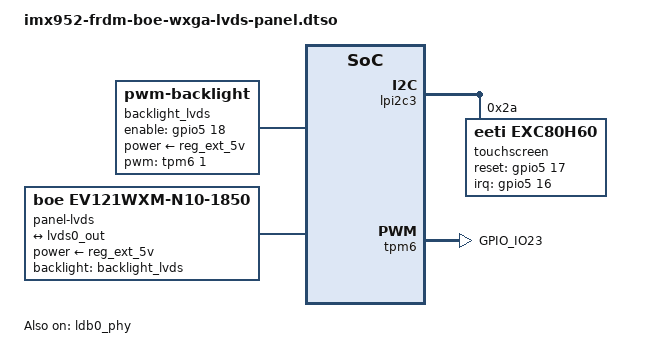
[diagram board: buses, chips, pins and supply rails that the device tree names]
// SPDX-License-Identifier: GPL-2.0+
/*
 * Copyright 2026 NXP
 */

#include <dt-bindings/gpio/gpio.h>
#include <dt-bindings/interrupt-controller/irq.h>
#include "imx952-pinfunc.h"

/dts-v1/;
/plugin/;

&{/} {
	backlight_lvds: backlight-lvds {
		compatible = "pwm-backlight";
		pwms = <&tpm6 1 100000 0>;
		brightness-levels = <0 100>;
		num-interpolated-steps = <100>;
		default-brightness-level = <100>;
		power-supply = <&reg_ext_5v>;
		pinctrl-names = "default";
		pinctrl-0 = <&pinctrl_lvds_backlight>;
		enable-gpios = <&gpio5 18 GPIO_ACTIVE_HIGH>;
	};

	panel-lvds {
		compatible = "boe,ev121wxm-n10-1850";
		backlight = <&backlight_lvds>;
		power-supply = <&reg_ext_5v>;

		port {
			panel_lvds_in: endpoint {
				remote-endpoint = <&lvds0_out>;
			};
		};
	};
};

&ldb {
	#address-cells = <1>;
	#size-cells = <0>;

	channel@0 {
		#address-cells = <1>;
		#size-cells = <0>;
		reg = <0>;
		status = "okay";

		port@1 {
			reg = <1>;

			lvds0_out: endpoint {
				remote-endpoint = <&panel_lvds_in>;
			};
		};
	};

	channel@1 {
		reg = <1>;
		status = "disabled";
	};
};


&ldb0_phy {
	status = "okay";
};

&ldb1_phy {
	status = "disabled";
};

&lpi2c3 {
	#address-cells = <1>;
	#size-cells = <0>;

	touchscreen@2a {
		compatible = "eeti,exc80h60";
		reg = <0x2a>;
		pinctrl-names = "default";
		pinctrl-0 = <&pinctrl_lvds_ctp_int_0>;
		interrupt-parent = <&gpio5>;
		interrupts = <16 IRQ_TYPE_LEVEL_LOW>;
		reset-gpios = <&gpio5 17 GPIO_ACTIVE_HIGH>;
		touchscreen-size-x = <4096>;
		touchscreen-size-y = <4096>;
	};
};

&pixel_interleaver {
	#address-cells = <1>;
	#size-cells = <0>;

	channel@0 {
		reg = <0>;
		status = "okay";
	};

	channel@1 {
		reg = <1>;
		status = "disabled";
	};
};

&scmi_iomuxc {
	pinctrl_lvds_ctp_int_0: lvds-ctp-int-0-grp {
		fsl,pins = <
			IMX952_PAD_GPIO_IO36__WAKEUPMIX_TOP_GPIO5_IO_16	0x31e
			IMX952_PAD_GPIO_IO37__WAKEUPMIX_TOP_GPIO5_IO_17	0x31e
		>;
	};

	pinctrl_lvds_backlight: lvds-backlight-grp {
		fsl,pins = <
			IMX952_PAD_GPIO_IO38__GPIO_IO38			0x31e
		>;
	};

	pinctrl_tpm6_ch1: tpm6-ch1-grp {
		fsl,pins = <
			IMX952_PAD_GPIO_IO23__WAKEUPMIX_TOP_TPM6_CH1	0x31e
		>;
	};
};

&tpm6 {
	pinctrl-names = "default";
	pinctrl-0 = <&pinctrl_tpm6_ch1>;
	status = "okay";
};
